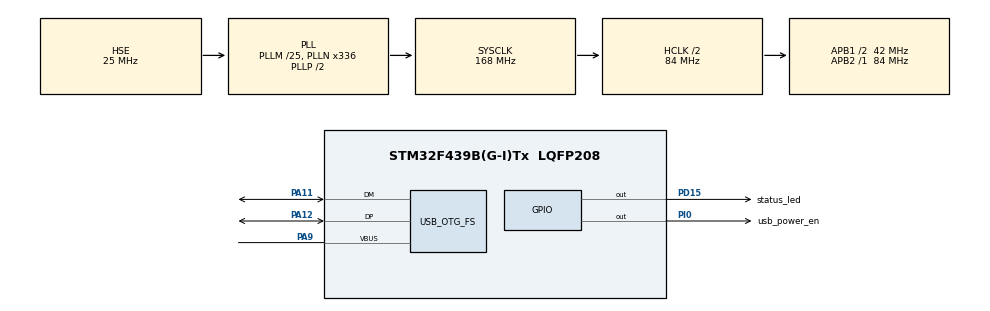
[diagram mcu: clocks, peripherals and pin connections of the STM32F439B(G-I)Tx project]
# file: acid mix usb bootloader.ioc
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FATFS._MAX_SS=4096
Mcu.Family=STM32F4
Mcu.Name=STM32F439B(G-I)Tx
Mcu.Package=LQFP208
NVIC.OTG_FS_IRQn=true\:0\:0\:false\:false\:true\:false\:true
NVIC.PriorityGroup=NVIC_PRIORITYGROUP_4
PA11.Mode=Host_Only
PA11.Signal=USB_OTG_FS_DM
PA12.Mode=Host_Only
PA12.Signal=USB_OTG_FS_DP
PA9.Mode=Activate_VBUS
PA9.Signal=USB_OTG_FS_VBUS
PD15.GPIO_Label=status_led
PD15.PinState=GPIO_PIN_SET
PD15.Signal=GPIO_Output
PH0/OSC_IN.Mode=HSE-External-Oscillator
PH0/OSC_IN.Signal=RCC_OSC_IN
PH1/OSC_OUT.Mode=HSE-External-Oscillator
PH1/OSC_OUT.Signal=RCC_OSC_OUT
PI0.GPIO_Label=usb_power_en
PI0.Signal=GPIO_Output
ProjectManager.HeapSize=0x200
ProjectManager.StackSize=0x400
ProjectManager.TargetToolchain=TrueSTUDIO
RCC.48MHZClocksFreq_Value=48000000
RCC.AHBCLKDivider=RCC_SYSCLK_DIV2
RCC.AHBFreq_Value=84000000
RCC.APB1CLKDivider=RCC_HCLK_DIV2
RCC.APB1Freq_Value=42000000
RCC.APB1TimFreq_Value=84000000
RCC.APB2Freq_Value=84000000
RCC.APB2TimFreq_Value=84000000
RCC.CortexFreq_Value=84000000
RCC.HCLKFreq_Value=84000000
RCC.HSE_VALUE=25000000
RCC.HSI_VALUE=16000000
RCC.LSE_VALUE=32768
RCC.PLLM=25
RCC.PLLN=336
RCC.PLLQ=7
RCC.SYSCLKFreq_VALUE=168000000
RCC.SYSCLKSource=RCC_SYSCLKSOURCE_PLLCLK
RCC.VCOOutputFreq_Value=336000000
USB_HOST.BSP.number=1
USB_HOST.USBH_HandleTypeDef-MSC_FS=hUsbHostFS
USB_HOST.VirtualModeFS=Msc
USB_HOST0.BSP.STBoard=false
USB_HOST0.BSP.api=Unknown
USB_HOST0.BSP.i2caddr=0
USB_HOST0.BSP.instance=PI0
USB_HOST0.BSP.ip=GPIO
USB_HOST0.BSP.mode=Output
USB_HOST0.BSP.name=Drive_VBUS_FS
USB_HOST0.BSP.solution=PI0
USB_OTG_FS.VirtualMode=Host_Only
USB_OTG_FS.phy_itface=HCD_PHY_EMBEDDED
VP_FATFS_VS_USB.Mode=USB
VP_USB_HOST_VS_USB_HOST_MSC_FS.Mode=MSC_FS
board=custom

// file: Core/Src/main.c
/* USER CODE BEGIN Header */
/**
  ******************************************************************************
  * @file           : main.c
  * @brief          : Main program body
  ******************************************************************************
  * @attention
  *
  * <h2><center>&copy; Copyright (c) 2021 STMicroelectronics.
  * All rights reserved.</center></h2>
  *
  * This software component is licensed by ST under Ultimate Liberty license
  * SLA0044, the "License"; You may not use this file except in compliance with
  * the License. You may obtain a copy of the License at:
  *                             www.st.com/SLA0044
  *
  ******************************************************************************
  */
/* USER CODE END Header */
#include "main.h"
#include "fatfs.h"
#include "usb_host.h"

/* USER CODE BEGIN Includes */
#include "flash_if.h"
#include "command.h"

#include <string.h>
/* USER CODE END Includes */

/* USER CODE BEGIN PV */
//CRC module for integrity checking
CRC_HandleTypeDef hcrc;
extern ApplicationTypeDef Appli_state;

//FATFS variables
FATFS myUsbFatFS;
//USB logical path
extern char USBHPath[4];   /* USBH logical drive path */
/* USER CODE END PV */

void SystemClock_Config(void);
static void MX_GPIO_Init(void);
void MX_USB_HOST_Process(void);
void MX_CRC_Init(void);
void HAL_CRC_MspInit(CRC_HandleTypeDef*);
void HAL_CRC_MspDeInit(CRC_HandleTypeDef*);

/* USER CODE BEGIN PFP */
static void bootloader_jump_to_user_app(void);
static uint32_t calcCrc32(uint8_t*, uint32_t);
uint8_t usb_test_write(void);
uint8_t usb_test_read(void);

static void flash_status_led(uint8_t);
/* USER CODE END PFP */

/* USER CODE BEGIN 0 */
uint8_t app_is_valid = 0;
volatile uint8_t usb_stick_connected = 0;
/* USER CODE END 0 */

int main(void)
{

  /* MCU Configuration--------------------------------------------------------*/

  /* Reset of all peripherals, Initializes the Flash interface and the Systick. */
  HAL_Init();

  /* Configure the system clock */
  SystemClock_Config();

  /* Initialize all configured peripherals */
  MX_GPIO_Init();
  MX_FATFS_Init();
  MX_USB_HOST_Init();
  /* USER CODE BEGIN 2 */
  MX_CRC_Init();

  /* USER CODE END 2 */

  /* Infinite loop */
  /* USER CODE BEGIN WHILE */
  uint32_t usb_start_ms = HAL_GetTick();
  uint32_t usb_current_ms = 0;
  uint32_t startup_timeout = 1500;
  while (1)
  {
    /* USER CODE END WHILE */
    MX_USB_HOST_Process(); //handles status update of usb, if this is not running, usb never changes

    /* USER CODE BEGIN 3 */
    switch(Appli_state) //handle the status that is updated in above HOST_Process()
    {
    case APPLICATION_IDLE:
    	usb_current_ms = HAL_GetTick();
    	if((usb_current_ms - usb_start_ms) > startup_timeout)
    	{
    		uint32_t valCrc32 = calcCrc32((uint8_t*)APPLICATION_ADDRESS, (0x1F4000));
//			if (valCrc32 == 0) //forced pass for debugging
    		if(1)
			{
				/* Check Vector Table: Test if user code is programmed starting from address
				"APPLICATION_ADDRESS" */
				if (((*(__IO uint32_t*)APPLICATION_ADDRESS) & 0x2FFE0000 ) == 0x20020000)
				{
					bootloader_jump_to_user_app();
				}
				else
				{
					//unsuccessful program installation (vector table error)
					HAL_GPIO_WritePin(status_led_GPIO_Port, status_led_Pin, GPIO_PIN_RESET);
					while(1)
					{
						HAL_Delay(600);
						flash_status_led(5);
					}
				}
			}
			else
			{
				HAL_GPIO_WritePin(status_led_GPIO_Port, status_led_Pin, GPIO_PIN_RESET);
				while(1)
				{
					HAL_Delay(600);
					flash_status_led(4);
				}
			}
    	}
    	break;
    case APPLICATION_START:
    	if(f_mount(&myUsbFatFS, (TCHAR const*)USBHPath, 0) == FR_OK)
    	{
    		//turn status led on when usb is plugged in
    		HAL_GPIO_WritePin(status_led_GPIO_Port, status_led_Pin, GPIO_PIN_SET);
    	}
        break;
    case APPLICATION_READY:
    	COMMAND_DOWNLOAD();
    	HAL_GPIO_WritePin(status_led_GPIO_Port, status_led_Pin, GPIO_PIN_RESET);
    	while(1)
    	{
    		HAL_Delay(600);
    		HAL_GPIO_WritePin(status_led_GPIO_Port, status_led_Pin, GPIO_PIN_SET);
    		flash_status_led(3);
    	}
        break;
    case APPLICATION_DISCONNECT:
    	//turn status led off when usb is unplugged
    	HAL_GPIO_WritePin(status_led_GPIO_Port, status_led_Pin, GPIO_PIN_RESET);
        break;
    default:
    	//default handler
    	break;
    }
  }
  /* USER CODE END 3 */
}

static void flash_status_led(uint8_t num_of_flashes)
{
	for(uint8_t flashes = 0; flashes < num_of_flashes; flashes++)
	{
		HAL_GPIO_WritePin(status_led_GPIO_Port, status_led_Pin, GPIO_PIN_SET);
		HAL_Delay(200);
		HAL_GPIO_WritePin(status_led_GPIO_Port, status_led_Pin, GPIO_PIN_RESET);
		HAL_Delay(200);
	}
}

FIL myFile;
FRESULT res;
UINT byteswritten, bytesread;
char rwtext[100];

uint8_t usb_test_write(void)
{
	//open or create file for writing
	if(f_open(&myFile, "TEST2.TXT", FA_WRITE | FA_CREATE_ALWAYS) != FR_OK)
	{
		return 0;
	}
	sprintf(rwtext, "hello from stm32f4.");
	res = f_write(&myFile, (const void*)rwtext, strlen(rwtext), &byteswritten);
	if((res != FR_OK) || (byteswritten == 0))
	{
		return 0;
	}

	f_close(&myFile);
	return 1;
}

uint8_t usb_test_read(void)
{
	return 0;
}

static void bootloader_jump_to_user_app(void)
{
    //just a function pointer to hold the address of the reset handler of the user app
    void (*app_reset_handler)(void);

    //1. configure the MSP by reading the value from the base address of the sector 2
    uint32_t msp_value = *(volatile uint32_t *)APPLICATION_ADDRESS;

    //this function comes from CMSIS
    __set_MSP(msp_value);

    //SCB->VTOR = FLASH_SECTOR1_BASE_ADDRESS;

    //now fetch the reset handler address of the user app
    //from the location FLASH_SECTOR2_BASE_ADDRESS+4
    uint32_t resethandler_address = *(volatile uint32_t *) (APPLICATION_ADDRESS + 4);

    app_reset_handler = (void*) resethandler_address;//this line give void pointer error, suppressed in compiler options!!

    //jump to reset handler of user application
    //bootloader hands off control to user application
    app_reset_handler();
}

/* CRC init function */
void MX_CRC_Init(void)
{

  hcrc.Instance = CRC;
  if (HAL_CRC_Init(&hcrc) != HAL_OK)
  {
    Error_Handler();
  }

}

void HAL_CRC_MspInit(CRC_HandleTypeDef* crcHandle)
{

  if(crcHandle->Instance==CRC)
  {
    /* CRC clock enable */
    __HAL_RCC_CRC_CLK_ENABLE();
  }
}

void HAL_CRC_MspDeInit(CRC_HandleTypeDef* crcHandle)
{

  if(crcHandle->Instance==CRC)
  {
    /* Peripheral clock disable */
    __HAL_RCC_CRC_CLK_DISABLE();
  }
}

static uint32_t calcCrc32(uint8_t* data, uint32_t len)
{
   uint32_t* pBuffer = (uint32_t*) data;
   uint32_t BufferLength = len/4;
   uint32_t index = 0;
   uint32_t uwCRCValue = 0xff;

   //reset crc unit
    __HAL_CRC_DR_RESET(&hcrc);

   for(index = 0; index < BufferLength; index++)
   {
     uint32_t i_data = pBuffer[index];
     uwCRCValue = HAL_CRC_Accumulate(&hcrc, &i_data, 1);

   }

   return uwCRCValue;
}

uint8_t get_flash_rdp_level(void)
{
    uint8_t rdp_status = 0;

#if 0
    FLASH_OBProgramInitTypeDef ob_handle;
    HAL_FLASHex_OBGetConfig(&ob_handle);
    rdp_status = (uint8_t)ob_handle.RDPLevel;
#else

    volatile uint32_t *pOB_addr = (uint32_t*) 0x1FFFC000;
    rdp_status = (uint8_t)(*pOB_addr >> 8);
#endif

    return rdp_status;

}

uint8_t execute_flash_erase(uint8_t sector_number, uint8_t number_of_sector)
{
    FLASH_EraseInitTypeDef flashErase_handle;
    uint32_t sectorError;
    HAL_StatusTypeDef status;

    if(number_of_sector > 23)
    {
        return INVALID_SECTOR;
    }

    if( (sector_number == 0xff) || (sector_number <= 7))
    {
        if(sector_number == (uint8_t) 0xff)
        {
            flashErase_handle.TypeErase = FLASH_TYPEERASE_MASSERASE;
        }
        else
        {
            uint8_t remaining_sector = 24 - sector_number;
            if( number_of_sector > remaining_sector)
            {
                number_of_sector = remaining_sector;
            }
            flashErase_handle.TypeErase = FLASH_TYPEERASE_SECTORS;
            flashErase_handle.Sector = sector_number;
            flashErase_handle.NbSectors = number_of_sector;

        }
        flashErase_handle.Banks = FLASH_BANK_BOTH;

        HAL_FLASH_Unlock();
        flashErase_handle.VoltageRange = FLASH_VOLTAGE_RANGE_3;
        status = HAL_FLASHEx_Erase(&flashErase_handle, &sectorError);
        HAL_FLASH_Lock();

        return status;
    }

    return INVALID_SECTOR;
}

void SystemClock_Config(void)
{
  RCC_OscInitTypeDef RCC_OscInitStruct = {0};
  RCC_ClkInitTypeDef RCC_ClkInitStruct = {0};

  /** Configure the main internal regulator output voltage
  */
  __HAL_RCC_PWR_CLK_ENABLE();
  __HAL_PWR_VOLTAGESCALING_CONFIG(PWR_REGULATOR_VOLTAGE_SCALE3);
  /** Initializes the RCC Oscillators according to the specified parameters
  * in the RCC_OscInitTypeDef structure.
  */
  RCC_OscInitStruct.OscillatorType = RCC_OSCILLATORTYPE_HSE;
  RCC_OscInitStruct.HSEState = RCC_HSE_ON;
  RCC_OscInitStruct.PLL.PLLState = RCC_PLL_ON;
  RCC_OscInitStruct.PLL.PLLSource = RCC_PLLSOURCE_HSE;
  RCC_OscInitStruct.PLL.PLLM = 25;
  RCC_OscInitStruct.PLL.PLLN = 336;
  RCC_OscInitStruct.PLL.PLLP = RCC_PLLP_DIV2;
  RCC_OscInitStruct.PLL.PLLQ = 7;
  if (HAL_RCC_OscConfig(&RCC_OscInitStruct) != HAL_OK)
  {
    Error_Handler();
  }
  /** Initializes the CPU, AHB and APB buses clocks
  */
  RCC_ClkInitStruct.ClockType = RCC_CLOCKTYPE_HCLK|RCC_CLOCKTYPE_SYSCLK
                              |RCC_CLOCKTYPE_PCLK1|RCC_CLOCKTYPE_PCLK2;
  RCC_ClkInitStruct.SYSCLKSource = RCC_SYSCLKSOURCE_PLLCLK;
  RCC_ClkInitStruct.AHBCLKDivider = RCC_SYSCLK_DIV2;
  RCC_ClkInitStruct.APB1CLKDivider = RCC_HCLK_DIV2;
  RCC_ClkInitStruct.APB2CLKDivider = RCC_HCLK_DIV1;

  if (HAL_RCC_ClockConfig(&RCC_ClkInitStruct, FLASH_LATENCY_2) != HAL_OK)
  {
    Error_Handler();
  }
}

static void MX_GPIO_Init(void)
{
  GPIO_InitTypeDef GPIO_InitStruct = {0};

  /* GPIO Ports Clock Enable */
  __HAL_RCC_GPIOH_CLK_ENABLE();
  __HAL_RCC_GPIOD_CLK_ENABLE();
  __HAL_RCC_GPIOA_CLK_ENABLE();
  __HAL_RCC_GPIOI_CLK_ENABLE();
  __HAL_RCC_GPIOB_CLK_ENABLE();

  /*Configure GPIO pin Output Level */
  HAL_GPIO_WritePin(status_led_GPIO_Port, status_led_Pin, GPIO_PIN_RESET);

  /*Configure GPIO pin Output Level */
  HAL_GPIO_WritePin(usb_power_en_GPIO_Port, usb_power_en_Pin, GPIO_PIN_SET);

  /*Configure GPIO pin Output Level */
  HAL_GPIO_WritePin(usb_power_en_2_GPIO_Port, usb_power_en_2_Pin, GPIO_PIN_SET);

  /*Configure GPIO pin : status_led_Pin */
  GPIO_InitStruct.Pin = status_led_Pin;
  GPIO_InitStruct.Mode = GPIO_MODE_OUTPUT_PP;
  GPIO_InitStruct.Pull = GPIO_NOPULL;
  GPIO_InitStruct.Speed = GPIO_SPEED_FREQ_LOW;
  HAL_GPIO_Init(status_led_GPIO_Port, &GPIO_InitStruct);

  /*Configure GPIO pin : usb_power_en_Pin */
  GPIO_InitStruct.Pin = usb_power_en_Pin;
  GPIO_InitStruct.Mode = GPIO_MODE_OUTPUT_PP;
  GPIO_InitStruct.Pull = GPIO_NOPULL;
  GPIO_InitStruct.Speed = GPIO_SPEED_FREQ_LOW;
  HAL_GPIO_Init(usb_power_en_GPIO_Port, &GPIO_InitStruct);

  GPIO_InitStruct.Pin = usb_power_en_2_Pin;
  HAL_GPIO_Init(usb_power_en_2_GPIO_Port, &GPIO_InitStruct);

}

void Error_Handler(void)
{
  __disable_irq();
  while (1)
  {
  }
}

/************************ (C) COPYRIGHT STMicroelectronics *****END OF FILE****/
